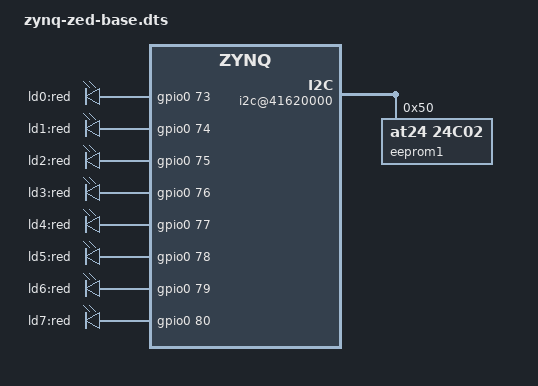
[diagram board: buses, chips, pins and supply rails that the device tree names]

/dts-v1/;

#include "zynq-zed.dtsi"

/ {
	fpga_axi: fpga-axi@0 {
		compatible = "simple-bus";
		#address-cells = <0x1>;
		#size-cells = <0x1>;
		ranges;

		i2c@41620000 {
			compatible = "xlnx,axi-iic-1.01.b", "xlnx,xps-iic-2.00.a";
			reg = <0x41620000 0x10000>;
			interrupt-parent = <&intc>;
			interrupts = <0 55 IRQ_TYPE_LEVEL_HIGH>;
			clocks = <&clkc 15>;
			clock-names = "pclk";

			#size-cells = <0>;
			#address-cells = <1>;

			eeprom1: eeprom@50 {
				compatible = "at24,24c02";
				reg = <0x50>;
			};

		};
        };

	leds {
		compatible = "gpio-leds";
		ld0 {
			label = "ld0:red";
			gpios = <&gpio0 73 0>;
		};

		ld1 {
			label = "ld1:red";
			gpios = <&gpio0 74 0>;
		};

		ld2 {
			label = "ld2:red";
			gpios = <&gpio0 75 0>;
		};

		ld3 {
			label = "ld3:red";
			gpios = <&gpio0 76 0>;
		};

		ld4 {
			label = "ld4:red";
			gpios = <&gpio0 77 0>;
		};

		ld5 {
			label = "ld5:red";
			gpios = <&gpio0 78 0>;
		};

		ld6 {
			label = "ld6:red";
			gpios = <&gpio0 79 0>;
		};

		ld7 {
			label = "ld7:red";
			gpios = <&gpio0 80 0>;
		};
	};
};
